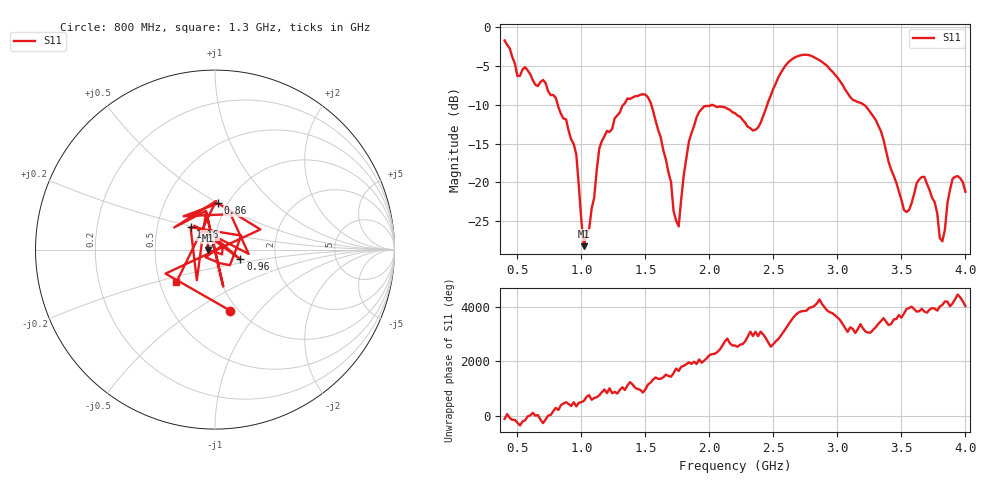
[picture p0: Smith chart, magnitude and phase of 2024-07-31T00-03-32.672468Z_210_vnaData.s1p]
!Created with skrf (http://scikit-rf.org).
# Hz S RI R 50.0
!freq ReS11 ImS11
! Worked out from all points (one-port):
!   181 points, 400 MHz to 4 GHz, reference 50 ohm
!   lowest |S11| = -28.2 dB at 1.02 GHz (marker M1), VSWR 1.08, Z = 46.3 - j0.132 ohm
!   |S11| at or under -10 dB: 815.4 MHz to 1.328 GHz (512.2 MHz wide, 47.8 % of centre); 1.546 GHz to 2.018 GHz (472.3 MHz wide, 26.5 % of centre); 3.207 GHz to end of sweep (the widest 3 of 4)
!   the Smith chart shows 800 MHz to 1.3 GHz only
!   S11 on the Smith chart (normalised r, x): 800 MHz: 0.92, -0.72; 860 MHz: 0.90, +0.50; 960 MHz: 1.32, -0.15; 1.16 GHz: 0.74, +0.19; 1.3 GHz: 0.61, -0.24
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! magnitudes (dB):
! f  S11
! 400 MHz  -1.7
! 500 MHz  -6.3
! 560 MHz  -5.1
! 800 MHz  -9.1
! 860 MHz  -11.8
! 960 MHz  -16.4
! 1.02 GHz  -28.2
! 1.06 GHz  -26.1
! 1.16 GHz  -14.7
! 1.3 GHz  -11.0
! 1.36 GHz  -9.2
! 1.54 GHz  -9.7
! 1.76 GHz  -25.7
! 1.84 GHz  -14.7
! 1.92 GHz  -10.9
! 2.2 GHz  -11.1
! 2.38 GHz  -12.9
! 2.66 GHz  -3.9
! 2.86 GHz  -4.2
! 3.1 GHz  -9.0
! 3.3 GHz  -12.0
! 3.52 GHz  -23.6
! 3.56 GHz  -23.6
! 3.68 GHz  -19.3
! 3.76 GHz  -22.6
! 3.82 GHz  -27.6
! 3.9 GHz  -19.5
! 4 GHz  -21.2
